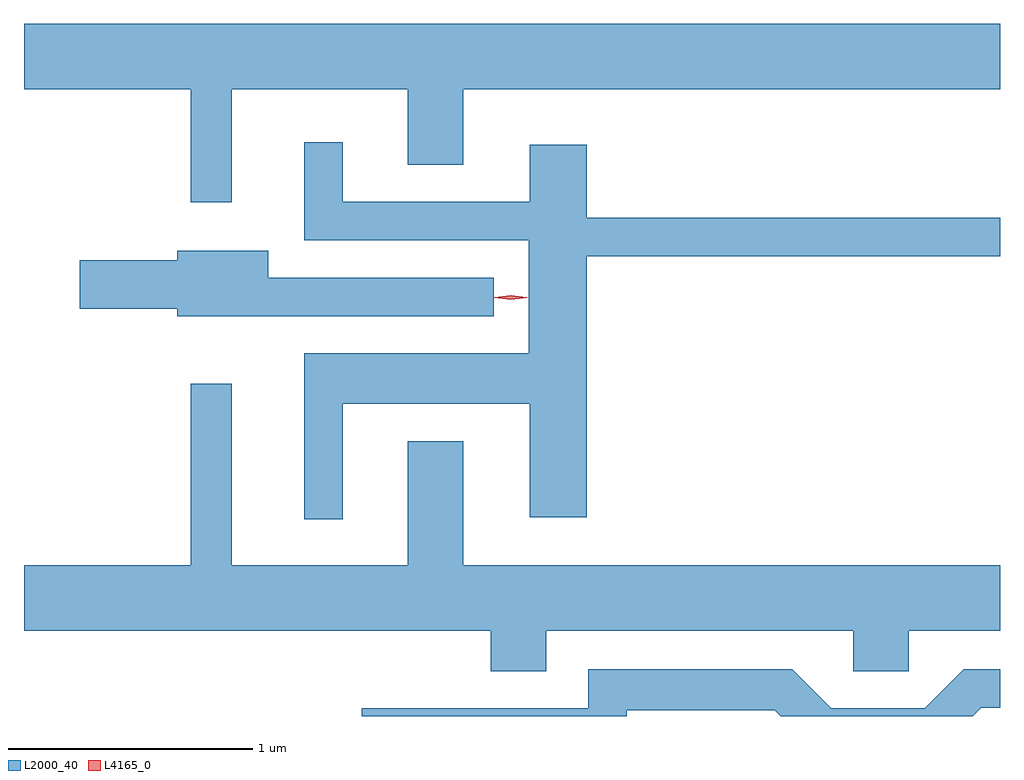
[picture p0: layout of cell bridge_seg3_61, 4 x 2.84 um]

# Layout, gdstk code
import gdstk
lib = gdstk.Library(unit=1e-6, precision=1e-09)
def P(c, l, *ps):  # polygons
    for p in ps: c.add(gdstk.Polygon(p, *l))
L2000_40 = (2000, 40)
L4165_0 = (4165, 0)

bridge_seg3_61 = lib.new_cell('bridge_seg3_61')
P(bridge_seg3_61, L2000_40, [(1178.999,1188.176),(1179.721,1188.176),(1179.721,1187.866),(1179.949,1187.866),(1179.949,1188.176),(1182.148,1188.176),(1182.148,1188.444),(1178.148,1188.444),(1178.148,1188.176),(1178.831,1188.176),(1178.831,1187.713),(1178.999,1187.713)],
  [(1179.454,1186.886),(1180.221,1186.886),(1180.221,1186.421),(1180.454,1186.421),(1180.454,1187.491),(1182.148,1187.491),(1182.148,1187.649),(1180.454,1187.649),(1180.454,1187.949),(1180.221,1187.949),(1180.221,1187.714),(1179.454,1187.714),(1179.454,1187.958),(1179.296,1187.958),(1179.296,1187.556),(1180.216,1187.556),(1180.216,1187.094),(1179.296,1187.094),(1179.296,1186.413),(1179.454,1186.413)],
  [(1180.073,1187.404),(1179.149,1187.404),(1179.149,1187.514),(1178.776,1187.514),(1178.776,1187.474),(1178.376,1187.474),(1178.376,1187.276),(1178.776,1187.276),(1178.776,1187.246),(1180.073,1187.246)],
  [(1180.289,1185.956),(1181.546,1185.956),(1181.546,1185.791),(1181.774,1185.791),(1181.774,1185.956),(1182.148,1185.956),(1182.148,1186.224),(1179.949,1186.224),(1179.949,1186.734),(1179.721,1186.734),(1179.721,1186.224),(1178.999,1186.224),(1178.999,1186.968),(1178.831,1186.968),(1178.831,1186.224),(1178.148,1186.224),(1178.148,1185.956),(1180.061,1185.956),(1180.061,1185.791),(1180.289,1185.791)],
  [(1180.619,1185.631),(1181.224,1185.631),(1181.249,1185.606),(1182.037,1185.606),(1182.072,1185.641),(1182.148,1185.641),(1182.148,1185.799),(1181.999,1185.799),(1181.839,1185.639),(1181.457,1185.639),(1181.297,1185.799),(1180.461,1185.799),(1180.461,1185.639),(1179.533,1185.639),(1179.533,1185.606),(1180.619,1185.606)])
P(bridge_seg3_61, L4165_0, [(1180.143,1187.312),(1180.074,1187.321),(1180.074,1187.322),(1180.074,1187.322),(1180.144,1187.331),(1180.212,1187.322),(1180.213,1187.321),(1180.212,1187.321)],
  [(1180.143,1187.312),(1180.078,1187.322),(1180.077,1187.322),(1180.078,1187.323),(1180.143,1187.332),(1180.209,1187.323),(1180.209,1187.322),(1180.209,1187.322)])

lib.write_gds('bridge_seg3_61.gds')
